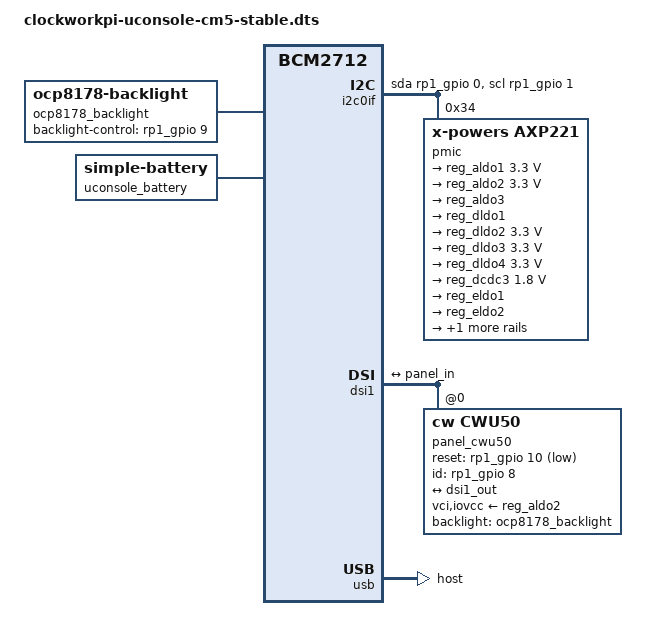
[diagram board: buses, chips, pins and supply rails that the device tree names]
/dts-v1/;
/plugin/;

/*
 * clockworkpi-uconsole-cm5-stable.dts
 *
 * Consolidated overlay for uConsole CM5 on openSUSE MicroOS.
 * Merges upstream ak-rex/ClockworkPi-linux best practices with
 * hard-won stability lessons from this repo's debugging sessions.
 *
 * Key changes from -ultimate overlay:
 *  - Full PMIC child devices (battery, AC, ADC) in DT — eliminates
 *    need for fragile uconsole_fixup kernel module
 *  - All regulators defined (dcdc3, dldo2-4, aldo1-3) for proper
 *    power sequencing during battery/charger transitions
 *  - I2C bus speed matched to upstream (2μs delay = 250kHz)
 *  - Battery node with proper chemistry/voltage parameters for
 *    kernel-level low-battery protection
 *  - Intermediate DSI timing: 40MHz DPI clock (compromise between
 *    upstream's 61MHz that causes underflow and current 20MHz/13Hz)
 *  - Keep proven fixes: HDMI/SPI10 disable, GPIO pin config
 *
 * See docs/STABILITY-REVIEW.md for full rationale.
 */

#include <dt-bindings/gpio/gpio.h>

/ {
	compatible = "brcm,bcm2712";

	/* ================================================================
	 * 1. Resource Conflict Prevention
	 *    Handled by config.txt: dtoverlay=disable-vc4 and dtparam=spi=off
	 * ================================================================ */

	/* ================================================================
	 * 2. DSI Display and Panel
	 *    Using 40MHz DPI clock — a safer middle ground:
	 *      - 61MHz (upstream) caused RP1 DSI Underflow on MicroOS
	 *        due to btrfs I/O storms and V3D contention
	 *      - 20MHz (previous) dropped refresh to ~13Hz causing
	 *        visible tearing and input lag
	 *      - 40MHz gives ~30Hz with the relaxed blanking, which is
	 *        smooth enough without triggering underflow
	 *    DSI byte clock at 72MHz provides adequate headroom for
	 *    4-lane RGB888 at 40MHz pixel clock.
	 * ================================================================ */
	fragment@4 {
		target = <&dsi1>;
		__overlay__ {
			status = "okay";
			#address-cells = <1>;
			#size-cells = <0>;

			/* Bandwidth: DSI byte clock / DPI pixel clock */
			assigned-clocks = <&rp1_clocks 46>, <&rp1_clocks 42>;
			assigned-clock-rates = <45833333>, <61111240>;

			port {
				dsi1_out: endpoint {
					remote-endpoint = <&panel_in>;
				};
			};

			panel_cwu50: panel@0 {
				compatible = "cw,cwu50";
				reg = <0>;
				reset-gpio = <&rp1_gpio 10 GPIO_ACTIVE_LOW>;
				id-gpio = <&rp1_gpio 8 GPIO_ACTIVE_HIGH>;
				pinctrl-names = "default";
				pinctrl-0 = <&panel_id_pins>;
				backlight = <&ocp8178_backlight>;
				rotation = <90>;
				vci-supply = <&reg_aldo2>;
				iovcc-supply = <&reg_aldo2>;

				port {
					panel_in: endpoint {
						remote-endpoint = <&dsi1_out>;
					};
				};
			};
		};
	};

	/* ================================================================
	 * 3. GPIO and Pinctrl
	 * ================================================================ */
	fragment@5 {
		target = <&rp1_gpio>;
		__overlay__ {
			panel_id_pins: panel_id_pins {
				function = "gpio";
				pins = "gpio8";
				bias-pull-down;
			};
		};
	};

	/* ================================================================
	 * 4. PMIC, Backlight, Battery, and Power Supply
	 *
	 *    CRITICAL CHANGES from -ultimate overlay:
	 *    a) I2C delay reduced from 20μs to 2μs (matches upstream,
	 *       10x faster bus prevents timeout during power transitions)
	 *    b) Full regulator set defined (not just aldo1/aldo2)
	 *    c) battery-power-supply + ac_power_supply + adc children
	 *       declared in DT — kernel instantiates them natively,
	 *       eliminating need for uconsole_fixup.ko hack
	 *    d) Battery node with proper voltage/capacity thresholds
	 *       for kernel-level brownout protection
	 *    e) Compatible strings include axp223 for battery cell
	 *       instantiation in mainline MFD driver
	 * ================================================================ */
	fragment@6 {
		target-path = "/";
		__overlay__ {
			ocp8178_backlight: backlight {
				compatible = "ocp8178-backlight";
				backlight-control-gpios = <&rp1_gpio 9 GPIO_ACTIVE_HIGH>;
				default-brightness = <5>;
				status = "okay";
			};

			/* Battery parameters for AXP221 fuel gauge */
			uconsole_battery: uconsole_battery {
				compatible = "simple-battery";
				device-chemistry = "lithium-ion";
				constant-charge-current-max-microamp = <2100000>;
				voltage-max-design-microvolt = <4200000>;
				re-charge-voltage-microvolt = <4000000>;
				voltage-min-design-microvolt = <3550000>;
				energy-full-design-microwatt-hours = <24790000>;
				charge-full-design-microamp-hours = <6700000>;
			};

			i2c0if: i2c0if {
				compatible = "i2c-gpio";
				gpios = <&rp1_gpio 0 (GPIO_ACTIVE_HIGH | 6)>,
				        <&rp1_gpio 1 (GPIO_ACTIVE_HIGH | 6)>;
				/* 2μs matches upstream — 10x faster than previous 20μs.
				 * Faster bus prevents I2C timeout during rapid PMIC
				 * register access (charging state changes, IRQ clear). */
				i2c-gpio,delay-us = <2>;
				#address-cells = <1>;
				#size-cells = <0>;
				status = "okay";

				pmic@34 {
					compatible = "x-powers,axp221";
					reg = <0x34>;
					/*
					 * IRQ intentionally disabled.
					 * RP1 GPIO interrupt controller has a known issue
					 * with the AXP221 IRQ line (GPIO2) that causes
					 * probe failure (-6). Power button handling is
					 * done via I2C polling in axp221-monitor.sh.
					 *
					 * Trade-off: No kernel power-key events, but
					 * prevents boot failures. PEK hardware shutdown
					 * (6s hold) still works via PMIC hardware.
					 */
					system-power-controller;
					interrupt-controller;
					#interrupt-cells = <1>;

					regulators {
						x-powers,dcdc-freq = <3000>;

						reg_aldo1: aldo1 {
							regulator-name = "audio-vdd";
							regulator-min-microvolt = <3300000>;
							regulator-max-microvolt = <3300000>;
							regulator-always-on;
						};
						reg_aldo2: aldo2 {
							regulator-name = "display-vcc";
							regulator-min-microvolt = <3300000>;
							regulator-max-microvolt = <3300000>;
							regulator-always-on;
						};
						reg_aldo3: aldo3 {
							regulator-boot-off;
							regulator-name = "wifi-vdd";
						};
						reg_dldo1: dldo1 {
							regulator-boot-off;
							regulator-name = "wifi-vbat-1";
						};
						reg_dldo2: dldo2 {
							regulator-always-on;
							regulator-min-microvolt = <3300000>;
							regulator-max-microvolt = <3300000>;
							regulator-name = "ext-3v3-1";
						};
						reg_dldo3: dldo3 {
							regulator-always-on;
							regulator-min-microvolt = <3300000>;
							regulator-max-microvolt = <3300000>;
							regulator-name = "ext-3v3-2";
						};
						reg_dldo4: dldo4 {
							regulator-always-on;
							regulator-min-microvolt = <3300000>;
							regulator-max-microvolt = <3300000>;
							regulator-name = "ext-3v3-3";
						};
						reg_dcdc3: dcdc3 {
							regulator-always-on;
							regulator-min-microvolt = <1800000>;
							regulator-max-microvolt = <1800000>;
							regulator-name = "sys-1v8";
						};
						reg_eldo1: eldo1 {
							regulator-boot-off;
							regulator-name = "wifi-vbat-2";
						};
						reg_eldo2: eldo2 {
							regulator-boot-off;
							regulator-name = "wifi-vbat-3";
						};
						reg_eldo3: eldo3 {
							regulator-boot-off;
							regulator-name = "wifi-vbat-4";
						};
					};

					/* Battery fuel gauge + charger */
					battery_power_supply: battery-power-supply {
						compatible = "x-powers,axp221-battery-power-supply";
						monitored-battery = <&uconsole_battery>;
					};

					/* AC (USB-C) power input detection */
					ac_power_supply: ac_power_supply {
						compatible = "x-powers,axp221-ac-power-supply";
					};

					/* ADC for voltage/current/temperature readings */
					axp_adc: adc {
						compatible = "x-powers,axp221-adc";
						#io-channel-cells = <1>;
					};

					axp_gpio: gpio {
						compatible = "x-powers,axp221-gpio";
						#gpio-cells = <2>;
						gpio-controller;
						status = "disabled";
					};
				};
			};
		};
	};

	/* ================================================================
	 * 5. USB DWC2 Host Mode
	 * ================================================================ */
	fragment@7 {
		target = <&usb>;
		__overlay__ {
			status = "okay";
			dr_mode = "host";
		};
	};

	/* ================================================================
	 * 6. Disable unused RP1 XHCI USB controllers to prevent interrupt storm
	 *    The floating pins on the CM5 uConsole trigger continuous
	 *    "over-current condition" interrupts which lag the DWC2 keyboard.
	 * ================================================================ */
	fragment@8 {
		target = <&rp1_usb0>;
		__overlay__ {
			status = "disabled";
		};
	};

	fragment@9 {
		target = <&rp1_usb1>;
		__overlay__ {
			status = "disabled";
		};
	};
};
